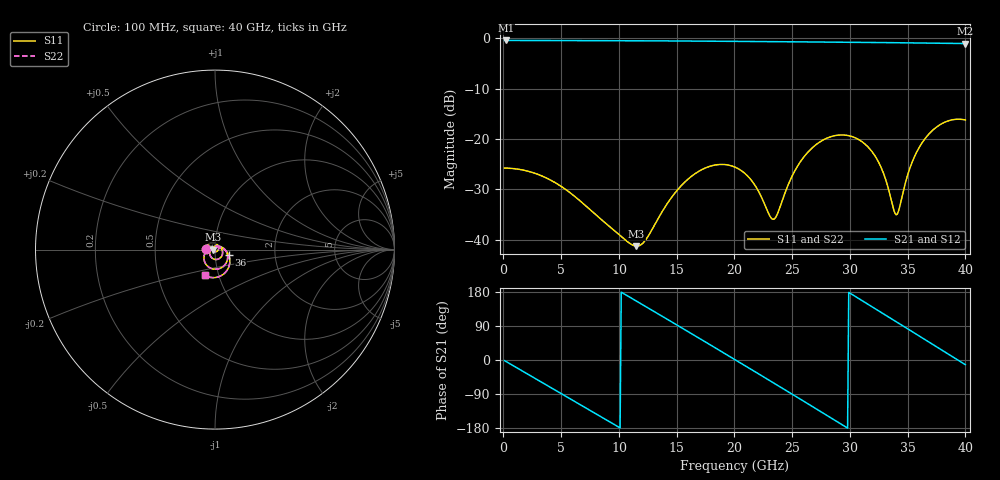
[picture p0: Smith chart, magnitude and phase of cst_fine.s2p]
! thru_s8x2_L1: 2×thru, L1, 8 mm
! stackup: 8-layer 1.6 mm FR-4 without the L2 plane
! ports: 1, 2
! CST Studio Suite 2025.5 Release from 2025-05-30, time domain (FIT, hexahedral, PBA), 239400 mesh cells, 40 s
! mesh: {'lpw': 30.0, 'lpb': 30.0, 'minstep': 0.0, 'ratio': 20}; ports: port 1 (face); port 2 (face)
! interpolated from CST's 1001 samples to the case grid
# Hz S RI R 50
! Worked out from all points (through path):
!   400 points, 100 MHz to 40 GHz, reference 50 ohm
!   highest |S21| = -0.46 dB at 200 MHz (marker M1); lowest = -1.1 dB at 40 GHz (marker M2)
!   group delay of S21, straight-line fit = 50.9 ps
!   lowest |S11| = -41.3 dB at 11.5 GHz (marker M3), VSWR 1.02, Z = 49.1 - j0.0618 ohm
!   |S11| at or under -10 dB: start of sweep to end of sweep
!   |S22| runs from -41.3 to -16.1 dB; largest |S21 - S12| = 4.3e-07
!   S11 on the Smith chart (normalised r, x): 100 MHz: 0.90, +0.00; 36 GHz: 1.16, -0.07; 40 GHz: 0.86, -0.25
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1e8  -0.0514 0.00166  0.9485 -0.0293  0.9485 -0.0293  -0.0514 0.00166
2e8  -0.0513 0.00331  0.9471 -0.0586  0.9471 -0.0586  -0.0513 0.00331
1.9e9  -0.0395 0.0282  0.7897 -0.5254  0.7897 -0.5254  -0.0395 0.0282
3.8e9  -0.0112 0.039  0.3659 -0.874  0.3659 -0.874  -0.0112 0.039
6.8e9  0.0203 0.0116  -0.4794 -0.8146  -0.4794 -0.8146  0.0203 0.0116
9.2e9  0.00727 -0.0113  -0.9029 -0.2734  -0.9029 -0.2734  0.00727 -0.0113
1.15e10  -0.0086 -0.000628  -0.8586 0.3867  -0.8586 0.3867  -0.0086 -0.000628
1.34e10  0.00435 0.0156  -0.493 0.8004  -0.493 0.8004  0.00435 0.0156
1.64e10  0.042 -0.0118  0.3598 0.8643  0.3598 0.8643  0.042 -0.0118
1.84e10  0.0256 -0.049  0.7993 0.4806  0.7993 0.4806  0.0256 -0.049
2.01e10  -0.0106 -0.0511  0.9292 -0.00049  0.9292 -0.00049  -0.0106 -0.0511
2.34e10  -0.00635 0.0146  0.4524 -0.8041  0.4524 -0.8041  -0.00635 0.0146
2.5e10  0.0412 0.0119  -0.00319 -0.9198  -0.00319 -0.9198  0.0412 0.0119
2.67e10  0.0707 -0.0391  -0.4827 -0.7798  -0.4827 -0.7798  0.0707 -0.0391
2.84e10  0.0416 -0.0971  -0.8181 -0.4083  -0.8181 -0.4083  0.0416 -0.0971
3e10  -0.0211 -0.1049  -0.9096 0.055  -0.9096 0.055  -0.0211 -0.1049
3.2e10  -0.0612 -0.039  -0.6833 0.5957  -0.6833 0.5957  -0.0612 -0.039
3.34e10  -0.0285 0.00929  -0.3458 0.8339  -0.3458 0.8339  -0.0285 0.00929
3.41e10  0.00199 0.0178  -0.1457 0.8888  -0.1457 0.8888  0.00199 0.0178
3.6e10  0.0761 -0.0314  0.4007 0.8004  0.4007 0.8004  0.0761 -0.0314
3.81e10  0.0476 -0.1364  0.8148 0.3565  0.8148 0.3565  0.0476 -0.1364
4e10  -0.0555 -0.1439  0.8635 -0.1914  0.8635 -0.1914  -0.0555 -0.1439
